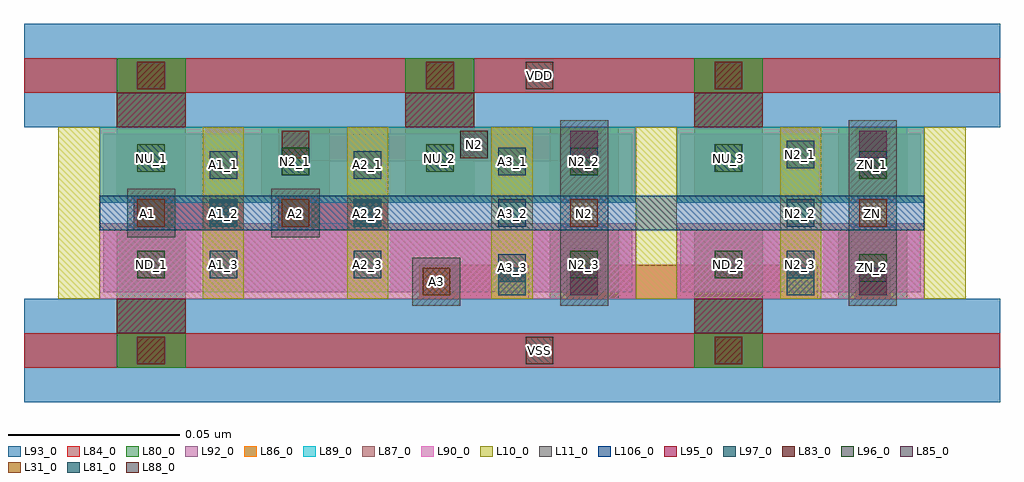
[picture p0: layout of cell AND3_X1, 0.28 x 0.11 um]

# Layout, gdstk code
import gdstk
lib = gdstk.Library(unit=1e-6, precision=1e-09)
def R(c, l, rs):  # rectangles x0, y0, x1, y1
    for r in rs: c.add(gdstk.rectangle(r[:2], r[2:], *l))
def A(c, l, x, y, w, h, nx, ny, dx, dy):  # array of equal rectangles
    R(c, l, [(x+i*dx, y+j*dy, x+i*dx+w, y+j*dy+h) for i in range(nx) for j in range(ny)])
L10_0 = (10, 0)
L11_0 = (11, 0)
L31_0 = (31, 0)
L80_0 = (80, 0)
L81_0 = (81, 0)
L83_0 = (83, 0)
L84_0 = (84, 0)
L85_0 = (85, 0)
L86_0 = (86, 0)
L87_0 = (87, 0)
L88_0 = (88, 0)
L89_0 = (89, 0)
L90_0 = (90, 0)
L92_0 = (92, 0)
L93_0 = (93, 0)
L95_0 = (95, 0)
L96_0 = (96, 0)
L97_0 = (97, 0)
L106_0 = (106, 0)

and3_x1 = lib.new_cell('AND3_X1')
A(and3_x1, L10_0, -0.027, 0.015, 0.012, 0.05, 7, 1, 0.042, 0)
R(and3_x1, L11_0, [(0.076,0.013,0.09,0.027), (0.119,0.013,0.133,0.047), (0.203,0.013,0.217,0.047), (-0.007,0.033,0.007,0.047), (0.035,0.033,0.049,0.047), (0.119,0.033,0.133,0.067), (0.203,0.033,0.217,0.067)])
A(and3_x1, L31_0, 0.038, 0.036, 0.008, 0.008, 3, 1, 0.084, 0)
R(and3_x1, L31_0, [(0.079,0.016,0.087,0.024), (-0.004,0.036,0.004,0.044)])
A(and3_x1, L80_0, 0.116, 0.015, 0.02, 0.02, 3, 1, 0.042, 0)
A(and3_x1, L80_0, -0.01, 0.056, 0.02, 0.029, 3, 1, 0.084, 0)
R(and3_x1, L80_0, [(-0.01,-0.005,0.01,0.016), (0.158,-0.005,0.178,0.016), (-0.01,0.015,0.01,0.035), (-0.01,0.045,0.01,0.065), (-0.01,0.045,0.01,0.065), (0.032,0.045,0.052,0.065), (0.032,0.045,0.052,0.065), (0.074,0.045,0.094,0.065), (0.074,0.045,0.094,0.065), (0.116,0.045,0.136,0.065), (0.116,0.045,0.136,0.065), (0.158,0.045,0.178,0.065), (0.158,0.045,0.178,0.065), (0.2,0.045,0.22,0.065), (0.2,0.045,0.22,0.065)])
R(and3_x1, L81_0, [(0.101,0.016,0.109,0.024), (0.185,0.016,0.193,0.024), (0.017,0.036,0.025,0.044), (0.059,0.036,0.067,0.044)])
A(and3_x1, L83_0, 0.038, 0.056, 0.008, 0.008, 3, 1, 0.084, 0)
A(and3_x1, L83_0, -0.004, 0.076, 0.008, 0.008, 3, 1, 0.084, 0)
R(and3_x1, L83_0, [(-0.004,-0.004,0.004,0.004), (0.164,-0.004,0.172,0.004), (0.122,0.016,0.13,0.024), (0.206,0.016,0.214,0.024)])
A(and3_x1, L84_0, 0.121, 0.015, 0.031, 0.01, 3, 1, 0.021, 0)
A(and3_x1, L84_0, 0.037, 0.055, 0.031, 0.01, 4, 1, 0.021, 0)
R(and3_x1, L84_0, [(-0.037,-0.005,0.247,0.005), (0.078,0.015,0.11,0.025), (0.205,0.015,0.215,0.025), (-0.005,0.035,0.027,0.045), (0.037,0.035,0.069,0.045), (0.205,0.055,0.215,0.065), (-0.037,0.075,0.247,0.085)])
R(and3_x1, L85_0, [(0.079,0.016,0.087,0.024), (0.122,0.016,0.13,0.024), (0.206,0.016,0.214,0.024), (-0.004,0.036,0.004,0.044), (0.038,0.036,0.046,0.044), (0.122,0.056,0.13,0.064), (0.206,0.056,0.214,0.064)])
R(and3_x1, L86_0, [(-0.015,0.043,0.141,0.065), (0.153,0.043,0.225,0.065)])
R(and3_x1, L87_0, [(-0.015,0.015,0.141,0.037), (0.153,0.015,0.225,0.037)])
R(and3_x1, L88_0, [(0.109,-0.004,0.117,0.004), (0.09,0.056,0.098,0.064), (0.109,0.076,0.117,0.084)])
R(and3_x1, L89_0, [(-0.015,0.043,0.141,0.065), (0.153,0.043,0.225,0.065)])
R(and3_x1, L90_0, [(-0.015,0.015,0.141,0.037), (0.153,0.015,0.225,0.037)])
R(and3_x1, L92_0, [(-0.014,0.017,0.14,0.035), (0.154,0.017,0.224,0.035), (-0.014,0.045,0.14,0.063), (0.154,0.045,0.224,0.063)])
R(and3_x1, L93_0, [(-0.037,-0.015,0.247,0.015), (-0.037,0.065,0.247,0.095)])
A(and3_x1, L95_0, -0.01, 0.065, 0.02, 0.01, 3, 1, 0.084, 0)
R(and3_x1, L95_0, [(-0.01,0.005,0.01,0.015), (0.158,0.005,0.178,0.015)])
A(and3_x1, L96_0, -0.004, 0.052, 0.008, 0.008, 3, 1, 0.084, 0)
R(and3_x1, L96_0, [(0.206,0.02,0.214,0.028), (-0.004,0.021,0.004,0.029), (0.122,0.021,0.13,0.029), (0.164,0.021,0.172,0.029), (0.206,0.05,0.214,0.058), (0.038,0.051,0.046,0.059), (0.122,0.051,0.13,0.059)])
A(and3_x1, L97_0, 0.017, 0.036, 0.008, 0.008, 3, 1, 0.042, 0)
R(and3_x1, L97_0, [(0.101,0.02,0.109,0.028), (0.017,0.021,0.025,0.029), (0.059,0.021,0.067,0.029), (0.185,0.021,0.193,0.029), (0.185,0.036,0.193,0.044), (0.017,0.05,0.025,0.058), (0.059,0.05,0.067,0.058), (0.101,0.051,0.109,0.059), (0.185,0.053,0.193,0.061)])
R(and3_x1, L106_0, [(-0.015,0.035,0.225,0.045)])
and3_x1.add(gdstk.Label('N2_1', (0.042,0.055), layer=96, texttype=0))
and3_x1.add(gdstk.Label('N2_3', (0.126,0.025), layer=96, texttype=0))
and3_x1.add(gdstk.Label('N2_2', (0.126,0.055), layer=96, texttype=0))
and3_x1.add(gdstk.Label('ZN_2', (0.21,0.024), layer=96, texttype=0))
and3_x1.add(gdstk.Label('ZN_1', (0.21,0.054), layer=96, texttype=0))
and3_x1.add(gdstk.Label('ND_2', (0.168,0.025), layer=96, texttype=0))
and3_x1.add(gdstk.Label('ND_1', (0,0.025), layer=96, texttype=0))
and3_x1.add(gdstk.Label('NU_3', (0.168,0.056), layer=96, texttype=0))
and3_x1.add(gdstk.Label('NU_2', (0.084,0.056), layer=96, texttype=0))
and3_x1.add(gdstk.Label('NU_1', (0,0.056), layer=96, texttype=0))
and3_x1.add(gdstk.Label('N2', (0.094,0.06), layer=88, texttype=0))
and3_x1.add(gdstk.Label('VSS', (0.113,0), layer=88, texttype=0))
and3_x1.add(gdstk.Label('VDD', (0.113,0.08), layer=88, texttype=0))
and3_x1.add(gdstk.Label('A3', (0.083,0.02), layer=31, texttype=0))
and3_x1.add(gdstk.Label('A2', (0.042,0.04), layer=31, texttype=0))
and3_x1.add(gdstk.Label('A1', (-0.001,0.04), layer=31, texttype=0))
and3_x1.add(gdstk.Label('N2', (0.126,0.04), layer=31, texttype=0))
and3_x1.add(gdstk.Label('ZN', (0.21,0.04), layer=31, texttype=0))
and3_x1.add(gdstk.Label('A3_3', (0.105,0.024), layer=97, texttype=0))
and3_x1.add(gdstk.Label('A3_2', (0.105,0.04), layer=97, texttype=0))
and3_x1.add(gdstk.Label('A3_1', (0.105,0.055), layer=97, texttype=0))
and3_x1.add(gdstk.Label('A2_3', (0.063,0.025), layer=97, texttype=0))
and3_x1.add(gdstk.Label('A2_2', (0.063,0.04), layer=97, texttype=0))
and3_x1.add(gdstk.Label('A2_1', (0.063,0.054), layer=97, texttype=0))
and3_x1.add(gdstk.Label('A1_1', (0.021,0.054), layer=97, texttype=0))
and3_x1.add(gdstk.Label('A1_2', (0.021,0.04), layer=97, texttype=0))
and3_x1.add(gdstk.Label('A1_3', (0.021,0.025), layer=97, texttype=0))
and3_x1.add(gdstk.Label('N2_3', (0.189,0.025), layer=97, texttype=0))
and3_x1.add(gdstk.Label('N2_2', (0.189,0.04), layer=97, texttype=0))
and3_x1.add(gdstk.Label('N2_1', (0.189,0.057), layer=97, texttype=0))

lib.write_gds('AND3_X1.gds')
